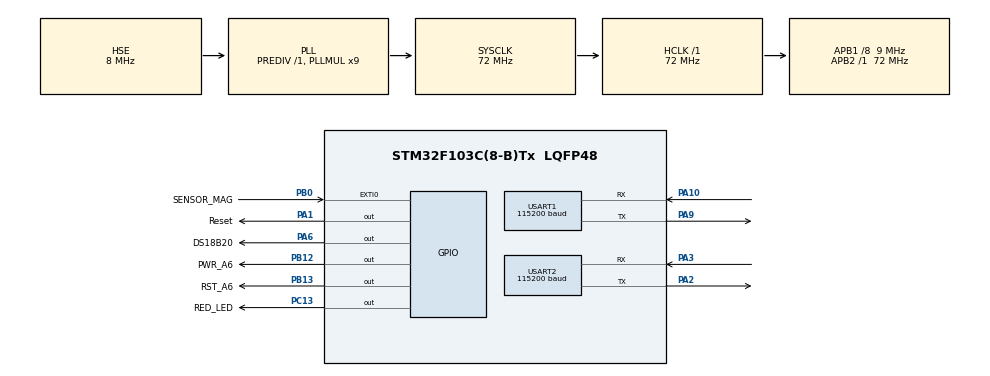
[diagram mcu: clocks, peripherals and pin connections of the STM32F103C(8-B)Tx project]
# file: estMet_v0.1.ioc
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Mcu.Family=STM32F1
Mcu.Name=STM32F103C(8-B)Tx
Mcu.Package=LQFP48
NVIC.EXTI0_IRQn=true\:6\:0\:true\:false\:true\:true\:true
NVIC.PriorityGroup=NVIC_PRIORITYGROUP_3
NVIC.TIM2_IRQn=true\:7\:0\:true\:false\:true\:true\:true
NVIC.TIM4_IRQn=true\:7\:1\:true\:false\:true\:true\:true
PA1.GPIO_Label=Reset
PA1.Signal=GPIO_Output
PA10.GPIO_PuPd=GPIO_NOPULL
PA10.Mode=Asynchronous
PA10.Signal=USART1_RX
PA13.Mode=Trace_Asynchronous_SW
PA13.Signal=SYS_JTMS-SWDIO
PA14.Mode=Trace_Asynchronous_SW
PA14.Signal=SYS_JTCK-SWCLK
PA2.Mode=Asynchronous
PA2.Signal=USART2_TX
PA3.Mode=Asynchronous
PA3.Signal=USART2_RX
PA6.GPIO_Label=DS18B20
PA6.GPIO_ModeDefaultOutputPP=GPIO_MODE_OUTPUT_PP
PA6.Signal=GPIO_Output
PA9.Mode=Asynchronous
PA9.Signal=USART1_TX
PB0.GPIO_Label=SENSOR_MAG
PB0.GPIO_PuPd=GPIO_PULLUP
PB0.Signal=GPXTI0
PB12.GPIO_Label=PWR_A6
PB12.Signal=GPIO_Output
PB13.GPIO_Label=RST_A6
PB13.GPIO_PuPd=GPIO_NOPULL
PB13.Signal=GPIO_Output
PB3.Mode=Trace_Asynchronous_SW
PB3.Signal=SYS_JTDO-TRACESWO
PC13-TAMPER-RTC.GPIO_Label=RED_LED
PC13-TAMPER-RTC.Signal=GPIO_Output
PD0-OSC_IN.Mode=HSE-External-Oscillator
PD0-OSC_IN.Signal=RCC_OSC_IN
PD1-OSC_OUT.Mode=HSE-External-Oscillator
PD1-OSC_OUT.Signal=RCC_OSC_OUT
ProjectManager.HeapSize=0x200
ProjectManager.StackSize=0x400
ProjectManager.TargetToolchain=STM32CubeIDE
RCC.AHBFreq_Value=72000000
RCC.APB1CLKDivider=RCC_HCLK_DIV8
RCC.APB1Freq_Value=9000000
RCC.APB1TimFreq_Value=18000000
RCC.APB2Freq_Value=72000000
RCC.APB2TimFreq_Value=72000000
RCC.HCLKFreq_Value=72000000
RCC.PLLMUL=RCC_PLL_MUL9
RCC.PLLSourceVirtual=RCC_PLLSOURCE_HSE
RCC.SYSCLKFreq_VALUE=72000000
RCC.SYSCLKSource=RCC_SYSCLKSOURCE_PLLCLK
RCC.USBFreq_Value=72000000
TIM1.Period=0xFFFF-1
TIM1.Prescaler=71
TIM2.Period=54000-1
TIM2.Prescaler=59999
TIM4.AutoReloadPreload=TIM_AUTORELOAD_PRELOAD_DISABLE
TIM4.Period=18000-1
TIM4.Prescaler=59999
TIM4.TIM_MasterOutputTrigger=TIM_TRGO_UPDATE
USART1.BaudRate=115200
USART1.VirtualMode=VM_ASYNC
USART2.BaudRate=115200
USART2.VirtualMode=VM_ASYNC
VP_TIM1_VS_ClockSourceINT.Mode=Internal
VP_TIM2_VS_ClockSourceINT.Mode=Internal
VP_TIM4_VS_ClockSourceINT.Mode=Internal
board=custom

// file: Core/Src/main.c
/* USER CODE BEGIN Header */
/**
  ******************************************************************************
  * @file           : main.c
  * @brief          : Main program body
  ******************************************************************************
  * @attention
  *
  * <h2><center>&copy; Copyright (c) 2020 STMicroelectronics.
  * All rights reserved.</center></h2>
  *
  * This software component is licensed by ST under BSD 3-Clause license,
  * the "License"; You may not use this file except in compliance with the
  * License. You may obtain a copy of the License at:
  *                        opensource.org/licenses/BSD-3-Clause
  *
  ******************************************************************************
  */
/* USER CODE END Header */
#include "main.h"
#include "tim.h"
#include "usart.h"
#include "gpio.h"

/* USER CODE BEGIN Includes */
#include <stdio.h>
#include "ds18b20.h"
#include "pluviometer.h"
#include "moduleA6.h"

/* USER CODE END Includes */

void SystemClock_Config(void);
/* USER CODE BEGIN PFP */

int _write(int file, char *ptr, int len) {
	int i;
	for (i = 0; i < len; i++) {
		ITM_SendChar(*ptr++);
	}
	return len;
}

/* USER CODE END PFP */

int main(void)
{
  /* USER CODE BEGIN 1 */

//	char txt[6] = "Hola\r\n";

  /* USER CODE END 1 */

  /* MCU Configuration--------------------------------------------------------*/

  /* Reset of all peripherals, Initializes the Flash interface and the Systick. */
  HAL_Init();

  /* Configure the system clock */
  SystemClock_Config();

  /* Initialize all configured peripherals */
  MX_GPIO_Init();
  MX_TIM4_Init();
  MX_TIM1_Init();
  MX_USART1_UART_Init();
  MX_TIM2_Init();
  MX_USART2_UART_Init();
  /* USER CODE BEGIN 2 */

  HAL_TIM_Base_Start(&htim1);

  __HAL_TIM_CLEAR_IT(&htim2, TIM_IT_UPDATE);
  HAL_TIM_Base_Start_IT(&htim2);

  __HAL_TIM_CLEAR_IT(&htim4, TIM_IT_UPDATE);

  resetModule();

//  HAL_PWR_EnableSleepOnExit();

  /* USER CODE END 2 */

  /* Infinite loop */
  while (1)
  {

  }
}

void SystemClock_Config(void)
{
  RCC_OscInitTypeDef RCC_OscInitStruct = {0};
  RCC_ClkInitTypeDef RCC_ClkInitStruct = {0};

  /** Initializes the RCC Oscillators according to the specified parameters
  * in the RCC_OscInitTypeDef structure.
  */
  RCC_OscInitStruct.OscillatorType = RCC_OSCILLATORTYPE_HSE;
  RCC_OscInitStruct.HSEState = RCC_HSE_ON;
  RCC_OscInitStruct.HSEPredivValue = RCC_HSE_PREDIV_DIV1;
  RCC_OscInitStruct.HSIState = RCC_HSI_ON;
  RCC_OscInitStruct.PLL.PLLState = RCC_PLL_ON;
  RCC_OscInitStruct.PLL.PLLSource = RCC_PLLSOURCE_HSE;
  RCC_OscInitStruct.PLL.PLLMUL = RCC_PLL_MUL9;
  if (HAL_RCC_OscConfig(&RCC_OscInitStruct) != HAL_OK)
  {
    Error_Handler();
  }
  /** Initializes the CPU, AHB and APB buses clocks
  */
  RCC_ClkInitStruct.ClockType = RCC_CLOCKTYPE_HCLK|RCC_CLOCKTYPE_SYSCLK
                              |RCC_CLOCKTYPE_PCLK1|RCC_CLOCKTYPE_PCLK2;
  RCC_ClkInitStruct.SYSCLKSource = RCC_SYSCLKSOURCE_PLLCLK;
  RCC_ClkInitStruct.AHBCLKDivider = RCC_SYSCLK_DIV1;
  RCC_ClkInitStruct.APB1CLKDivider = RCC_HCLK_DIV8;
  RCC_ClkInitStruct.APB2CLKDivider = RCC_HCLK_DIV1;

  if (HAL_RCC_ClockConfig(&RCC_ClkInitStruct, FLASH_LATENCY_2) != HAL_OK)
  {
    Error_Handler();
  }
}

/* USER CODE BEGIN 4 */

void HAL_GPIO_EXTI_Callback(uint16_t GPIO_Pin){

	startRain();
}

void HAL_TIM_PeriodElapsedCallback(TIM_HandleTypeDef *htim){

	if (htim->Instance == TIM2){
		HAL_GPIO_TogglePin(RED_LED_GPIO_Port,RED_LED_Pin);
		sendTemp(); // Se activa cada 3 minutos
	}

	if (htim->Instance == TIM4){
		sendIncrement();// Se activa cada 1 minuto
	}
}

/* USER CODE END 4 */

void Error_Handler(void)
{
  /* USER CODE BEGIN Error_Handler_Debug */
	/* User can add his own implementation to report the HAL error return state */

	while (1){
		HAL_GPIO_TogglePin(RED_LED_GPIO_Port,RED_LED_Pin);
		HAL_Delay(500);
	}

  /* USER CODE END Error_Handler_Debug */
}

/************************ (C) COPYRIGHT STMicroelectronics *****END OF FILE****/
